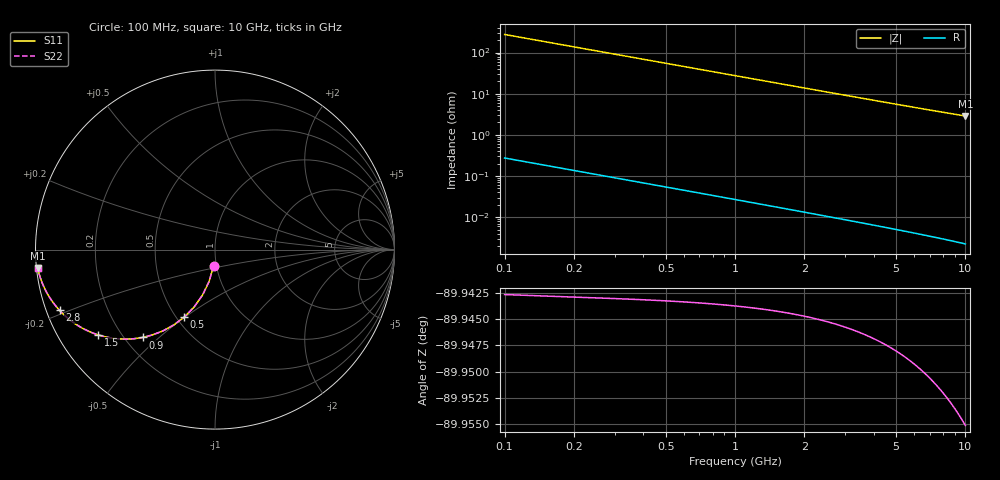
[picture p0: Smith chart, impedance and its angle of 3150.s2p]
# Hz S RI R 50.00
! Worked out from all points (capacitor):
!   100 points, 100 MHz to 10 GHz, reference 50 ohm
!   read as one part in shunt: C = 5.8 pF near 100 MHz
!   lowest |Z| = 2.87 ohm at 10 GHz (marker M1)
!   S11 on the Smith chart (normalised r, x): 100 MHz: 0.97, -0.18; 500 MHz: 0.55, -0.50; 900 MHz: 0.27, -0.44; 1.5 GHz: 0.12, -0.32; 2.8 GHz: 0.04, -0.19; 10 GHz: 0.00, -0.05
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1e8  -0.00829 -0.0903  0.9917 -0.0904  0.9917 -0.0904  -0.00829 -0.0903
2e8  -0.0323 -0.1761  0.9677 -0.1764  0.9677 -0.1764  -0.0323 -0.1761
3e8  -0.0697 -0.254  0.9303 -0.2543  0.9303 -0.2543  -0.0697 -0.254
4e8  -0.1174 -0.3212  0.8826 -0.3216  0.8826 -0.3216  -0.1174 -0.3212
5e8  -0.172 -0.3766  0.828 -0.3772  0.828 -0.3772  -0.172 -0.3766
6e8  -0.2301 -0.4201  0.7698 -0.4208  0.7698 -0.4208  -0.2301 -0.4201
7e8  -0.2891 -0.4525  0.7109 -0.4533  0.7109 -0.4533  -0.2891 -0.4525
8e8  -0.3468 -0.475  0.6531 -0.4759  0.6531 -0.4759  -0.3468 -0.475
9e8  -0.4018 -0.4893  0.5981 -0.4903  0.5981 -0.4903  -0.4018 -0.4893
1e9  -0.4533 -0.4967  0.5467 -0.4979  0.5467 -0.4979  -0.4533 -0.4967
1.2e9  -0.544 -0.4969  0.4559 -0.4982  0.4559 -0.4982  -0.544 -0.4969
1.5e9  -0.6507 -0.4754  0.3492 -0.4771  0.3492 -0.4771  -0.6507 -0.4754
1.8e9  -0.7283 -0.4433  0.2716 -0.4453  0.2716 -0.4453  -0.7283 -0.4433
2e9  -0.7679 -0.4205  0.2321 -0.4228  0.2321 -0.4228  -0.7679 -0.4205
2.3e9  -0.8139 -0.3874  0.1861 -0.39  0.1861 -0.39  -0.8139 -0.3874
2.8e9  -0.8662 -0.3383  0.1337 -0.3415  0.1337 -0.3415  -0.8662 -0.3383
3.4e9  -0.9051 -0.2906  0.0948 -0.2945  0.0948 -0.2945  -0.9051 -0.2906
4.2e9  -0.9356 -0.2424  0.0643 -0.2472  0.0643 -0.2472  -0.9356 -0.2424
5.1e9  -0.9554 -0.2029  0.0445 -0.2088  0.0445 -0.2088  -0.9554 -0.2029
6.7e9  -0.9737 -0.1555  0.0262 -0.1633  0.0262 -0.1633  -0.9737 -0.1555
8.4e9  -0.9831 -0.1231  0.0168 -0.133  0.0168 -0.133  -0.9831 -0.1231
1e10  -0.9881 -0.1018  0.0118 -0.1136  0.0118 -0.1136  -0.9881 -0.1018
